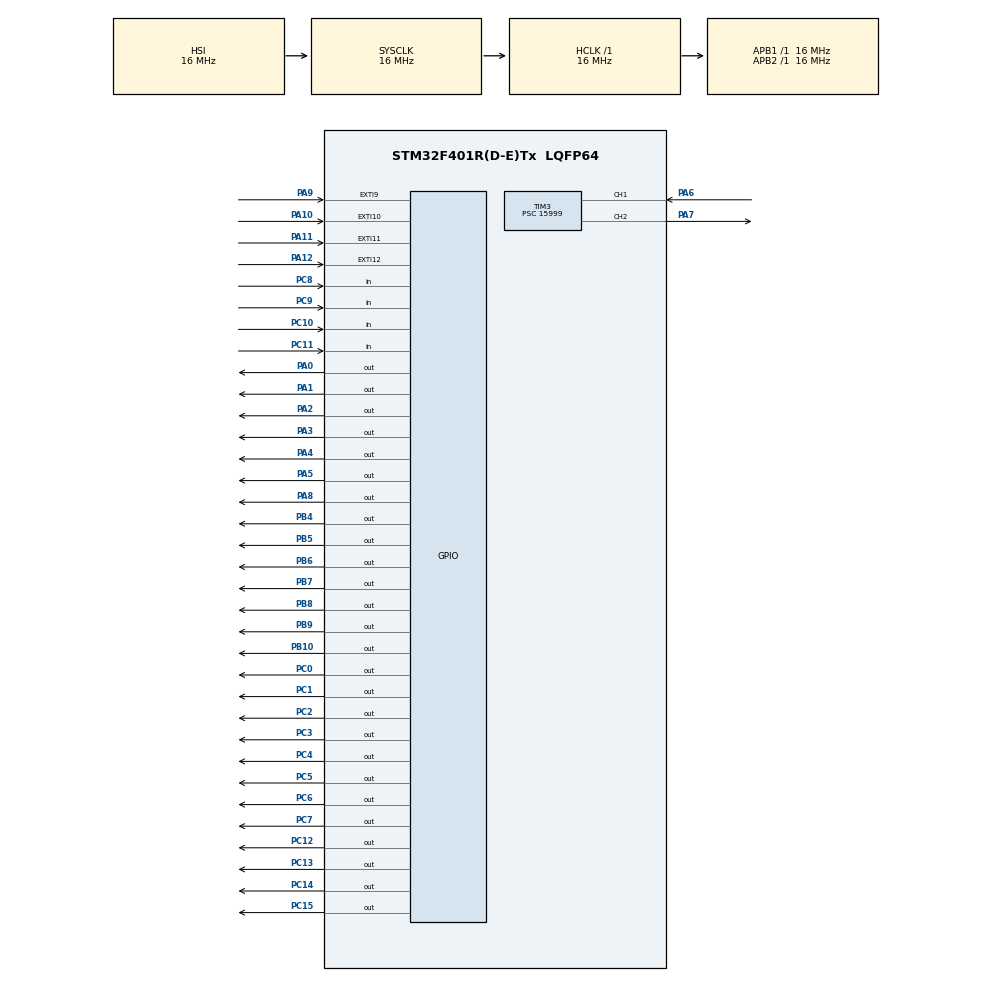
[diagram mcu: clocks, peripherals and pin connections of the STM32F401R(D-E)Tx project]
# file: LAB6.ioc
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Mcu.Family=STM32F4
Mcu.Name=STM32F401R(D-E)Tx
Mcu.Package=LQFP64
NVIC.EXTI15_10_IRQn=true\:0\:0\:false\:false\:true\:true\:true
NVIC.EXTI9_5_IRQn=true\:0\:0\:false\:false\:true\:true\:true
NVIC.PriorityGroup=NVIC_PRIORITYGROUP_4
NVIC.TIM2_IRQn=true\:0\:0\:false\:false\:true\:true\:true
NVIC.TIM3_IRQn=true\:0\:0\:false\:false\:true\:true\:true
NVIC.TIM4_IRQn=true\:0\:0\:false\:false\:true\:true\:true
PA0-WKUP.GPIO_PuPd=GPIO_PULLUP
PA0-WKUP.Signal=GPIO_Output
PA1.GPIO_PuPd=GPIO_PULLUP
PA1.Signal=GPIO_Output
PA10.GPIO_PuPd=GPIO_PULLUP
PA10.Signal=GPXTI10
PA11.GPIO_PuPd=GPIO_PULLUP
PA11.Signal=GPXTI11
PA12.GPIO_PuPd=GPIO_PULLUP
PA12.Signal=GPXTI12
PA2.GPIO_PuPd=GPIO_PULLUP
PA2.Signal=GPIO_Output
PA3.GPIO_PuPd=GPIO_PULLUP
PA3.Signal=GPIO_Output
PA4.GPIO_PuPd=GPIO_PULLUP
PA4.Signal=GPIO_Output
PA5.GPIO_PuPd=GPIO_PULLUP
PA5.Signal=GPIO_Output
PA6.GPIO_PuPd=GPIO_PULLDOWN
PA6.Signal=S_TIM3_CH1
PA7.Signal=S_TIM3_CH2
PA8.Signal=GPIO_Output
PA9.GPIO_PuPd=GPIO_PULLUP
PA9.Signal=GPXTI9
PB10.GPIO_PuPd=GPIO_PULLUP
PB10.Signal=GPIO_Output
PB4.Signal=GPIO_Output
PB5.Signal=GPIO_Output
PB6.GPIO_PuPd=GPIO_NOPULL
PB6.Signal=GPIO_Output
PB7.Signal=GPIO_Output
PB8.GPIO_PuPd=GPIO_PULLUP
PB8.Signal=GPIO_Output
PB9.GPIO_PuPd=GPIO_PULLUP
PB9.Signal=GPIO_Output
PC0.Signal=GPIO_Output
PC1.Signal=GPIO_Output
PC10.GPIO_PuPd=GPIO_PULLUP
PC10.Signal=GPIO_Input
PC11.GPIO_PuPd=GPIO_PULLUP
PC11.Signal=GPIO_Input
PC12.Signal=GPIO_Output
PC13-ANTI_TAMP.Signal=GPIO_Output
PC14-OSC32_IN.Signal=GPIO_Output
PC15-OSC32_OUT.GPIO_PuPd=GPIO_PULLUP
PC15-OSC32_OUT.Signal=GPIO_Output
PC2.Signal=GPIO_Output
PC3.Signal=GPIO_Output
PC4.Signal=GPIO_Output
PC5.Signal=GPIO_Output
PC6.Signal=GPIO_Output
PC7.Signal=GPIO_Output
PC8.GPIO_PuPd=GPIO_PULLUP
PC8.Signal=GPIO_Input
PC9.GPIO_PuPd=GPIO_PULLUP
PC9.Signal=GPIO_Input
ProjectManager.HeapSize=0x200
ProjectManager.StackSize=0x400
ProjectManager.TargetToolchain=MDK-ARM V5.32
RCC.AHBFreq_Value=16000000
RCC.APB1Freq_Value=16000000
RCC.APB2Freq_Value=16000000
RCC.CortexFreq_Value=16000000
RCC.HSE_VALUE=25000000
RCC.HSI_VALUE=16000000
RCC.LSE_VALUE=32768
RCC.SYSCLKFreq_VALUE=16000000
RCC.VCOOutputFreq_Value=192000000
SH.S_TIM3_CH1.0=TIM3_CH1,Input_Capture1_from_TI1
SH.S_TIM3_CH2.0=TIM3_CH2,PWM Generation2 CH2
TIM2.Period=1999
TIM2.Prescaler=15999
TIM3.AutoReloadPreload=TIM_AUTORELOAD_PRELOAD_ENABLE
TIM3.Channel-Input_Capture1_from_TI1=TIM_CHANNEL_1
TIM3.Channel-PWM\ Generation2\ CH2=TIM_CHANNEL_2
TIM3.ICPolarity_CH1=TIM_INPUTCHANNELPOLARITY_RISING
TIM3.Period=65535
TIM3.Prescaler=15999
TIM4.AutoReloadPreload=TIM_AUTORELOAD_PRELOAD_ENABLE
TIM4.Period=999
TIM4.Prescaler=15999
VP_TIM2_VS_ClockSourceINT.Mode=Internal
VP_TIM3_VS_ClockSourceINT.Mode=Internal
VP_TIM4_VS_ClockSourceINT.Mode=Internal
board=custom

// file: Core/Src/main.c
/* USER CODE BEGIN Header */
/**
 ******************************************************************************
 * @file           : main.c
 * @brief          : Main program body
 ******************************************************************************
 * @attention
 *
 * <h2><center>&copy; Copyright (c) 2022 STMicroelectronics.
 * All rights reserved.</center></h2>
 *
 * This software component is licensed by ST under BSD 3-Clause license,
 * the "License"; You may not use this file except in compliance with the
 * License. You may obtain a copy of the License at:
 *                        opensource.org/licenses/BSD-3-Clause
 *
 ******************************************************************************
 */
/* USER CODE END Header */
#include "main.h"

/* USER CODE BEGIN Includes */
#include <stdio.h>
#include <stdlib.h>

void delayMs(int n);
void LCD_command(unsigned char command);
void LCD_data(char data);
void LCD_init(void);
char KEYPAD_check(void);
void checkInput(char charIn);
void checkStudentID(void);
void SEG_show(int inputNum);
void showName(void);
void showTime(void);
void gameStart(void);
int LED_random(void);
void LED_reset(void);
void LOOSER(void);
void WINNER(void);
void LED_FINAL_SHOW(int myState);

int studentID = 0;
int timeStart = 0;
int state = 0;
int nameID = 0;
int name_upd = 0;
int reset_pushed = 0;
uint32_t firstReset = 0;
uint32_t secondReset = 0;
uint32_t difReset = 0;
int resetCount_init = 0;
int myTime = 0;
int endGame = 0;
int level = 3000;
int LED_status = 0;
int fault_num = 0;

#define RS 0x20 /* PB5 mask for reg select */
#define RW 0x40 /* PB6 mask for read/write */
#define EN 0x80 /* PB7 mask for enable */
/* USER CODE END Includes */

TIM_HandleTypeDef htim2;
TIM_HandleTypeDef htim3;
TIM_HandleTypeDef htim4;

void SystemClock_Config(void);
static void MX_GPIO_Init(void);
static void MX_TIM3_Init(void);
static void MX_TIM2_Init(void);
static void MX_TIM4_Init(void);

int main(void)
{

    /* MCU Configuration--------------------------------------------------------*/

    /* Reset of all peripherals, Initializes the Flash interface and the Systick. */
    HAL_Init();

    /* Configure the system clock */
    SystemClock_Config();

    /* Initialize all configured peripherals */
    MX_GPIO_Init();
    MX_TIM3_Init();
    MX_TIM2_Init();
    MX_TIM4_Init();
    /* USER CODE BEGIN 2 */
    LCD_init();

    /* USER CODE END 2 */

    /* Infinite loop */
    while (1)
    {

        /* USER CODE BEGIN 3 */
        if (state == 2)
        {
            delayMs(level);
            if (LED_status > 0)
            {
                fault_num++;
                SEG_show(fault_num);
            }
            if (fault_num >= 3)
            {
                state = 404;
                HAL_GPIO_WritePin(GPIOB, GPIO_PIN_4, GPIO_PIN_SET);
                LOOSER();
            }

            LED_reset();
            switch (LED_random())
            {
            case 0:
                HAL_GPIO_WritePin(GPIOB, GPIO_PIN_8, GPIO_PIN_SET);
                LED_status = 1;
                break;
            case 1:
                HAL_GPIO_WritePin(GPIOB, GPIO_PIN_9, GPIO_PIN_SET);
                LED_status = 2;
                break;
            case 2:
                HAL_GPIO_WritePin(GPIOB, GPIO_PIN_10, GPIO_PIN_SET);
                LED_status = 3;
                break;
            case 3:
                HAL_GPIO_WritePin(GPIOC, GPIO_PIN_15, GPIO_PIN_SET);
                LED_status = 4;
                break;
            }
        }

        if (endGame != 0)
        {
            state = 433;
            endGame = 0;
            HAL_GPIO_WritePin(GPIOB, GPIO_PIN_4, GPIO_PIN_SET);
            WINNER();
        }

        if (state == 0)
        {
            char charIN = KEYPAD_check();
            if (charIN != 0x01)
                checkInput(charIN);
            checkStudentID();
        }
        if (state == 1)
        {
            if (name_upd == 1)
            {
                LCD_command(1);
                showName();
                name_upd = 0;
            }
        }
        if (state == 100)
        {
            HAL_GPIO_WritePin(GPIOB, GPIO_PIN_4, GPIO_PIN_RESET);
            LED_reset();
            state = 0;
            studentID = 0;
            nameID = 0;
            name_upd = 0;
            reset_pushed = 0;
            firstReset = 0;
            secondReset = 0;
            difReset = 0;
            resetCount_init = 0;
            myTime = 59;
            endGame = 0;
            level = 3000;
            LED_status = 0;
            fault_num = 0;
            timeStart = 0;
            SEG_show(fault_num);
            HAL_TIM_Base_Stop_IT(&htim2);
            HAL_TIM_Base_Stop_IT(&htim4);

            LCD_command(1);
        }
        if (reset_pushed == 2)
        {
            gameStart();
        }
    }
    /* USER CODE END 3 */
}

void SystemClock_Config(void)
{
    RCC_OscInitTypeDef RCC_OscInitStruct = {0};
    RCC_ClkInitTypeDef RCC_ClkInitStruct = {0};

    /** Configure the main internal regulator output voltage
     */
    __HAL_RCC_PWR_CLK_ENABLE();
    __HAL_PWR_VOLTAGESCALING_CONFIG(PWR_REGULATOR_VOLTAGE_SCALE2);
    /** Initializes the RCC Oscillators according to the specified parameters
     * in the RCC_OscInitTypeDef structure.
     */
    RCC_OscInitStruct.OscillatorType = RCC_OSCILLATORTYPE_HSI;
    RCC_OscInitStruct.HSIState = RCC_HSI_ON;
    RCC_OscInitStruct.HSICalibrationValue = RCC_HSICALIBRATION_DEFAULT;
    RCC_OscInitStruct.PLL.PLLState = RCC_PLL_NONE;
    if (HAL_RCC_OscConfig(&RCC_OscInitStruct) != HAL_OK)
    {
        Error_Handler();
    }
    /** Initializes the CPU, AHB and APB buses clocks
     */
    RCC_ClkInitStruct.ClockType = RCC_CLOCKTYPE_HCLK | RCC_CLOCKTYPE_SYSCLK | RCC_CLOCKTYPE_PCLK1 | RCC_CLOCKTYPE_PCLK2;
    RCC_ClkInitStruct.SYSCLKSource = RCC_SYSCLKSOURCE_HSI;
    RCC_ClkInitStruct.AHBCLKDivider = RCC_SYSCLK_DIV1;
    RCC_ClkInitStruct.APB1CLKDivider = RCC_HCLK_DIV1;
    RCC_ClkInitStruct.APB2CLKDivider = RCC_HCLK_DIV1;

    if (HAL_RCC_ClockConfig(&RCC_ClkInitStruct, FLASH_LATENCY_0) != HAL_OK)
    {
        Error_Handler();
    }
}

static void MX_TIM2_Init(void)
{

    TIM_ClockConfigTypeDef sClockSourceConfig = {0};
    TIM_MasterConfigTypeDef sMasterConfig = {0};

    htim2.Instance = TIM2;
    htim2.Init.Prescaler = 15999;
    htim2.Init.CounterMode = TIM_COUNTERMODE_UP;
    htim2.Init.Period = 1999;
    htim2.Init.ClockDivision = TIM_CLOCKDIVISION_DIV1;
    htim2.Init.AutoReloadPreload = TIM_AUTORELOAD_PRELOAD_DISABLE;
    if (HAL_TIM_Base_Init(&htim2) != HAL_OK)
    {
        Error_Handler();
    }
    sClockSourceConfig.ClockSource = TIM_CLOCKSOURCE_INTERNAL;
    if (HAL_TIM_ConfigClockSource(&htim2, &sClockSourceConfig) != HAL_OK)
    {
        Error_Handler();
    }
    sMasterConfig.MasterOutputTrigger = TIM_TRGO_RESET;
    sMasterConfig.MasterSlaveMode = TIM_MASTERSLAVEMODE_DISABLE;
    if (HAL_TIMEx_MasterConfigSynchronization(&htim2, &sMasterConfig) != HAL_OK)
    {
        Error_Handler();
    }
}

static void MX_TIM3_Init(void)
{

    TIM_ClockConfigTypeDef sClockSourceConfig = {0};
    TIM_MasterConfigTypeDef sMasterConfig = {0};
    TIM_IC_InitTypeDef sConfigIC = {0};
    TIM_OC_InitTypeDef sConfigOC = {0};

    htim3.Instance = TIM3;
    htim3.Init.Prescaler = 15999;
    htim3.Init.CounterMode = TIM_COUNTERMODE_UP;
    htim3.Init.Period = 65535;
    htim3.Init.ClockDivision = TIM_CLOCKDIVISION_DIV1;
    htim3.Init.AutoReloadPreload = TIM_AUTORELOAD_PRELOAD_ENABLE;
    if (HAL_TIM_Base_Init(&htim3) != HAL_OK)
    {
        Error_Handler();
    }
    sClockSourceConfig.ClockSource = TIM_CLOCKSOURCE_INTERNAL;
    if (HAL_TIM_ConfigClockSource(&htim3, &sClockSourceConfig) != HAL_OK)
    {
        Error_Handler();
    }
    if (HAL_TIM_IC_Init(&htim3) != HAL_OK)
    {
        Error_Handler();
    }
    if (HAL_TIM_PWM_Init(&htim3) != HAL_OK)
    {
        Error_Handler();
    }
    sMasterConfig.MasterOutputTrigger = TIM_TRGO_RESET;
    sMasterConfig.MasterSlaveMode = TIM_MASTERSLAVEMODE_DISABLE;
    if (HAL_TIMEx_MasterConfigSynchronization(&htim3, &sMasterConfig) != HAL_OK)
    {
        Error_Handler();
    }
    sConfigIC.ICPolarity = TIM_INPUTCHANNELPOLARITY_RISING;
    sConfigIC.ICSelection = TIM_ICSELECTION_DIRECTTI;
    sConfigIC.ICPrescaler = TIM_ICPSC_DIV1;
    sConfigIC.ICFilter = 0;
    if (HAL_TIM_IC_ConfigChannel(&htim3, &sConfigIC, TIM_CHANNEL_1) != HAL_OK)
    {
        Error_Handler();
    }
    sConfigOC.OCMode = TIM_OCMODE_PWM1;
    sConfigOC.Pulse = 0;
    sConfigOC.OCPolarity = TIM_OCPOLARITY_HIGH;
    sConfigOC.OCFastMode = TIM_OCFAST_DISABLE;
    if (HAL_TIM_PWM_ConfigChannel(&htim3, &sConfigOC, TIM_CHANNEL_2) != HAL_OK)
    {
        Error_Handler();
    }
    HAL_TIM_MspPostInit(&htim3);
}

static void MX_TIM4_Init(void)
{

    TIM_ClockConfigTypeDef sClockSourceConfig = {0};
    TIM_MasterConfigTypeDef sMasterConfig = {0};

    htim4.Instance = TIM4;
    htim4.Init.Prescaler = 15999;
    htim4.Init.CounterMode = TIM_COUNTERMODE_UP;
    htim4.Init.Period = 999;
    htim4.Init.ClockDivision = TIM_CLOCKDIVISION_DIV1;
    htim4.Init.AutoReloadPreload = TIM_AUTORELOAD_PRELOAD_ENABLE;
    if (HAL_TIM_Base_Init(&htim4) != HAL_OK)
    {
        Error_Handler();
    }
    sClockSourceConfig.ClockSource = TIM_CLOCKSOURCE_INTERNAL;
    if (HAL_TIM_ConfigClockSource(&htim4, &sClockSourceConfig) != HAL_OK)
    {
        Error_Handler();
    }
    sMasterConfig.MasterOutputTrigger = TIM_TRGO_RESET;
    sMasterConfig.MasterSlaveMode = TIM_MASTERSLAVEMODE_DISABLE;
    if (HAL_TIMEx_MasterConfigSynchronization(&htim4, &sMasterConfig) != HAL_OK)
    {
        Error_Handler();
    }
}

static void MX_GPIO_Init(void)
{
    GPIO_InitTypeDef GPIO_InitStruct = {0};

    /* GPIO Ports Clock Enable */
    __HAL_RCC_GPIOC_CLK_ENABLE();
    __HAL_RCC_GPIOA_CLK_ENABLE();
    __HAL_RCC_GPIOB_CLK_ENABLE();

    /*Configure GPIO pin Output Level */
    HAL_GPIO_WritePin(GPIOC, GPIO_PIN_13 | GPIO_PIN_14 | GPIO_PIN_15 | GPIO_PIN_0 | GPIO_PIN_1 | GPIO_PIN_2 | GPIO_PIN_3 | GPIO_PIN_4 | GPIO_PIN_5 | GPIO_PIN_6 | GPIO_PIN_7 | GPIO_PIN_12, GPIO_PIN_RESET);

    /*Configure GPIO pin Output Level */
    HAL_GPIO_WritePin(GPIOA, GPIO_PIN_0 | GPIO_PIN_1 | GPIO_PIN_2 | GPIO_PIN_3 | GPIO_PIN_4 | GPIO_PIN_5 | GPIO_PIN_8, GPIO_PIN_RESET);

    /*Configure GPIO pin Output Level */
    HAL_GPIO_WritePin(GPIOB, GPIO_PIN_10 | GPIO_PIN_4 | GPIO_PIN_5 | GPIO_PIN_6 | GPIO_PIN_7 | GPIO_PIN_8 | GPIO_PIN_9, GPIO_PIN_RESET);

    /*Configure GPIO pins : PC13 PC14 PC0 PC1
                             PC2 PC3 PC4 PC5
                             PC6 PC7 PC12 */
    GPIO_InitStruct.Pin = GPIO_PIN_13 | GPIO_PIN_14 | GPIO_PIN_0 | GPIO_PIN_1 | GPIO_PIN_2 | GPIO_PIN_3 | GPIO_PIN_4 | GPIO_PIN_5 | GPIO_PIN_6 | GPIO_PIN_7 | GPIO_PIN_12;
    GPIO_InitStruct.Mode = GPIO_MODE_OUTPUT_PP;
    GPIO_InitStruct.Pull = GPIO_NOPULL;
    GPIO_InitStruct.Speed = GPIO_SPEED_FREQ_LOW;
    HAL_GPIO_Init(GPIOC, &GPIO_InitStruct);

    /*Configure GPIO pin : PC15 */
    GPIO_InitStruct.Pin = GPIO_PIN_15;
    GPIO_InitStruct.Mode = GPIO_MODE_OUTPUT_PP;
    GPIO_InitStruct.Pull = GPIO_PULLUP;
    GPIO_InitStruct.Speed = GPIO_SPEED_FREQ_LOW;
    HAL_GPIO_Init(GPIOC, &GPIO_InitStruct);

    /*Configure GPIO pins : PA0 PA1 PA2 PA3
                             PA4 PA5 */
    GPIO_InitStruct.Pin = GPIO_PIN_0 | GPIO_PIN_1 | GPIO_PIN_2 | GPIO_PIN_3 | GPIO_PIN_4 | GPIO_PIN_5;
    GPIO_InitStruct.Mode = GPIO_MODE_OUTPUT_PP;
    GPIO_InitStruct.Pull = GPIO_PULLUP;
    GPIO_InitStruct.Speed = GPIO_SPEED_FREQ_LOW;
    HAL_GPIO_Init(GPIOA, &GPIO_InitStruct);

    /*Configure GPIO pins : PB10 PB8 PB9 */
    GPIO_InitStruct.Pin = GPIO_PIN_10 | GPIO_PIN_8 | GPIO_PIN_9;
    GPIO_InitStruct.Mode = GPIO_MODE_OUTPUT_PP;
    GPIO_InitStruct.Pull = GPIO_PULLUP;
    GPIO_InitStruct.Speed = GPIO_SPEED_FREQ_LOW;
    HAL_GPIO_Init(GPIOB, &GPIO_InitStruct);

    /*Configure GPIO pins : PC8 PC9 PC10 PC11 */
    GPIO_InitStruct.Pin = GPIO_PIN_8 | GPIO_PIN_9 | GPIO_PIN_10 | GPIO_PIN_11;
    GPIO_InitStruct.Mode = GPIO_MODE_INPUT;
    GPIO_InitStruct.Pull = GPIO_PULLUP;
    HAL_GPIO_Init(GPIOC, &GPIO_InitStruct);

    /*Configure GPIO pin : PA8 */
    GPIO_InitStruct.Pin = GPIO_PIN_8;
    GPIO_InitStruct.Mode = GPIO_MODE_OUTPUT_PP;
    GPIO_InitStruct.Pull = GPIO_NOPULL;
    GPIO_InitStruct.Speed = GPIO_SPEED_FREQ_LOW;
    HAL_GPIO_Init(GPIOA, &GPIO_InitStruct);

    /*Configure GPIO pins : PA9 PA10 PA11 PA12 */
    GPIO_InitStruct.Pin = GPIO_PIN_9 | GPIO_PIN_10 | GPIO_PIN_11 | GPIO_PIN_12;
    GPIO_InitStruct.Mode = GPIO_MODE_IT_RISING;
    GPIO_InitStruct.Pull = GPIO_PULLUP;
    HAL_GPIO_Init(GPIOA, &GPIO_InitStruct);

    /*Configure GPIO pins : PB4 PB5 PB6 PB7 */
    GPIO_InitStruct.Pin = GPIO_PIN_4 | GPIO_PIN_5 | GPIO_PIN_6 | GPIO_PIN_7;
    GPIO_InitStruct.Mode = GPIO_MODE_OUTPUT_PP;
    GPIO_InitStruct.Pull = GPIO_NOPULL;
    GPIO_InitStruct.Speed = GPIO_SPEED_FREQ_LOW;
    HAL_GPIO_Init(GPIOB, &GPIO_InitStruct);

    /* EXTI interrupt init*/
    HAL_NVIC_SetPriority(EXTI9_5_IRQn, 0, 0);
    HAL_NVIC_EnableIRQ(EXTI9_5_IRQn);

    HAL_NVIC_SetPriority(EXTI15_10_IRQn, 0, 0);
    HAL_NVIC_EnableIRQ(EXTI15_10_IRQn);
}

/* USER CODE BEGIN 4 */
void LCD_init(void)
{ /* initialize port then initialize LCD and making it ready for commanding */
    delayMs(30);
    LCD_command(0x30);
    delayMs(10);
    LCD_command(0x30);
    delayMs(1);
    LCD_command(0x30);
    LCD_command(0x38); /* set 8-bit data and two line of 5x7 font */
    LCD_command(0x06); /*  cursor after each character */
    LCD_command(0x01); /* clear screen and reset cursor */
    LCD_command(0x0F); /* display turn on*/
}

void LCD_command(unsigned char command)
{
    HAL_GPIO_WritePin(GPIOB, RS, GPIO_PIN_RESET);
    HAL_GPIO_WritePin(GPIOB, RW, GPIO_PIN_RESET);
    for (uint16_t GPIO_Pin = GPIO_PIN_0; GPIO_Pin != GPIO_PIN_8; GPIO_Pin = GPIO_Pin << 1)
    {
        HAL_GPIO_WritePin(GPIOC, GPIO_Pin, command % 2);
        command = command >> 1;
    }
    HAL_GPIO_WritePin(GPIOB, EN, GPIO_PIN_SET); /* pulse E high */ /* make a pulse E */
    delayMs(0);
    HAL_GPIO_WritePin(GPIOB, EN, GPIO_PIN_RESET); /* clear E */
    if (command < 4)
        delayMs(2); /* first two commands need more time */
    else
        delayMs(1);
}

void LCD_data(char data)
{
    HAL_GPIO_WritePin(GPIOB, RS, GPIO_PIN_SET);   /* RS = 1 */
    HAL_GPIO_WritePin(GPIOB, RW, GPIO_PIN_RESET); /* R/W = 0 */
    for (uint16_t GPIO_Pin = GPIO_PIN_0; GPIO_Pin != GPIO_PIN_8; GPIO_Pin = GPIO_Pin << 1)
    {
        HAL_GPIO_WritePin(GPIOC, GPIO_Pin, data % 2);
        data = data >> 1;
    }
    HAL_GPIO_WritePin(GPIOB, EN, GPIO_PIN_SET); /* pulse E high */
    delayMs(0);
    HAL_GPIO_WritePin(GPIOB, EN, GPIO_PIN_RESET); /* clear E */

    delayMs(1);
}

void delayMs(int n)
{
    int i;
    for (; n > 0; n--)
        for (i = 0; i < 3195; i++)
            __NOP();
}

char KEYPAD_check(void)
{

    HAL_GPIO_WritePin(GPIOC, GPIO_PIN_12, GPIO_PIN_RESET);
    HAL_GPIO_WritePin(GPIOC, GPIO_PIN_13, GPIO_PIN_SET);
    HAL_GPIO_WritePin(GPIOC, GPIO_PIN_14, GPIO_PIN_SET);

    if (!(HAL_GPIO_ReadPin(GPIOC, GPIO_PIN_8))) // if the Col 1 is low
    {
        while (!(HAL_GPIO_ReadPin(GPIOC, GPIO_PIN_8)))
            ; // wait till the button is pressed
        return '1';
    }

    if (!(HAL_GPIO_ReadPin(GPIOC, GPIO_PIN_9))) // if the Col 2 is low
    {
        while (!(HAL_GPIO_ReadPin(GPIOC, GPIO_PIN_9)))
            ; // wait till the button is pressed
        return '4';
    }

    if (!(HAL_GPIO_ReadPin(GPIOC, GPIO_PIN_10))) // if the Col 3 is low
    {
        while (!(HAL_GPIO_ReadPin(GPIOC, GPIO_PIN_10)))
            ; // wait till the button is pressed
        return '7';
    }

    if (!(HAL_GPIO_ReadPin(GPIOC, GPIO_PIN_11))) // if the Col 4 is low
    {
        while (!(HAL_GPIO_ReadPin(GPIOC, GPIO_PIN_11)))
            ; // wait till the button is pressed
        return '*';
    }

    //////////////

    HAL_GPIO_WritePin(GPIOC, GPIO_PIN_12, GPIO_PIN_SET);
    HAL_GPIO_WritePin(GPIOC, GPIO_PIN_13, GPIO_PIN_RESET);
    HAL_GPIO_WritePin(GPIOC, GPIO_PIN_14, GPIO_PIN_SET);

    if (!(HAL_GPIO_ReadPin(GPIOC, GPIO_PIN_8))) // if the Col 1 is low
    {
        while (!(HAL_GPIO_ReadPin(GPIOC, GPIO_PIN_8)))
            ; // wait till the button is pressed
        return '2';
    }

    if (!(HAL_GPIO_ReadPin(GPIOC, GPIO_PIN_9))) // if the Col 2 is low
    {
        while (!(HAL_GPIO_ReadPin(GPIOC, GPIO_PIN_9)))
            ; // wait till the button is pressed
        return '5';
    }

    if (!(HAL_GPIO_ReadPin(GPIOC, GPIO_PIN_10))) // if the Col 3 is low
    {
        while (!(HAL_GPIO_ReadPin(GPIOC, GPIO_PIN_10)))
            ; // wait till the button is pressed
        return '8';
    }

    if (!(HAL_GPIO_ReadPin(GPIOC, GPIO_PIN_11))) // if the Col 4 is low
    {
        while (!(HAL_GPIO_ReadPin(GPIOC, GPIO_PIN_11)))
            ; // wait till the button is pressed
        return '0';
    }

    /////////////

    HAL_GPIO_WritePin(GPIOC, GPIO_PIN_12, GPIO_PIN_SET);
    HAL_GPIO_WritePin(GPIOC, GPIO_PIN_13, GPIO_PIN_SET);
    HAL_GPIO_WritePin(GPIOC, GPIO_PIN_14, GPIO_PIN_RESET);

    if (!(HAL_GPIO_ReadPin(GPIOC, GPIO_PIN_8))) // if the Col 1 is low
    {
        while (!(HAL_GPIO_ReadPin(GPIOC, GPIO_PIN_8)))
            ; // wait till the button is pressed
        return '3';
    }

    if (!(HAL_GPIO_ReadPin(GPIOC, GPIO_PIN_9))) // if the Col 2 is low
    {
        while (!(HAL_GPIO_ReadPin(GPIOC, GPIO_PIN_9)))
            ; // wait till the button is pressed
        return '6';
    }

    if (!(HAL_GPIO_ReadPin(GPIOC, GPIO_PIN_10))) // if the Col 3 is low
    {
        while (!(HAL_GPIO_ReadPin(GPIOC, GPIO_PIN_10)))
            ; // wait till the button is pressed
        return '9';
    }

    if (!(HAL_GPIO_ReadPin(GPIOC, GPIO_PIN_11))) // if the Col 4 is low
    {
        while (!(HAL_GPIO_ReadPin(GPIOC, GPIO_PIN_11)))
            ; // wait till the button is pressed
        return '#';
    }
}

void checkInput(char charIn)
{
    if ('0' <= charIn <= '9')
    {
        studentID *= 10;
        studentID += (charIn - 48);
        LCD_data(charIn);
    }
    if (charIn == '*')
    {
        state = 100;
        studentID = 0;
        reset_pushed = 0;
    }
}

void checkStudentID(void)
{
    if (studentID == 97243076 || studentID == 97243091)
    {
        state++;
        name_upd++;
        HAL_Delay(500);
        HAL_TIM_Base_Start_IT(&htim2);
    }
    if (timeStart == 0)
    {
        // LCD_data('!');
        HAL_TIM_IC_Start_IT(&htim3, TIM_CHANNEL_1);
        timeStart = 1;
    }
}

void SEG_show(int inputNum)
{
    switch (inputNum)
    {
    case 0:
    {
        HAL_GPIO_WritePin(GPIOA, GPIO_PIN_0, GPIO_PIN_SET);
        HAL_GPIO_WritePin(GPIOA, GPIO_PIN_1, GPIO_PIN_SET);
        HAL_GPIO_WritePin(GPIOA, GPIO_PIN_2, GPIO_PIN_SET);
        HAL_GPIO_WritePin(GPIOA, GPIO_PIN_3, GPIO_PIN_SET);
        HAL_GPIO_WritePin(GPIOA, GPIO_PIN_4, GPIO_PIN_SET);
        HAL_GPIO_WritePin(GPIOA, GPIO_PIN_5, GPIO_PIN_SET);
        HAL_GPIO_WritePin(GPIOA, GPIO_PIN_8, GPIO_PIN_RESET);
    };
    break;
    case 1:
    {
        HAL_GPIO_WritePin(GPIOA, GPIO_PIN_0, GPIO_PIN_RESET);
        HAL_GPIO_WritePin(GPIOA, GPIO_PIN_1, GPIO_PIN_SET);
        HAL_GPIO_WritePin(GPIOA, GPIO_PIN_2, GPIO_PIN_SET);
        HAL_GPIO_WritePin(GPIOA, GPIO_PIN_3, GPIO_PIN_RESET);
        HAL_GPIO_WritePin(GPIOA, GPIO_PIN_4, GPIO_PIN_RESET);
        HAL_GPIO_WritePin(GPIOA, GPIO_PIN_5, GPIO_PIN_RESET);
        HAL_GPIO_WritePin(GPIOA, GPIO_PIN_8, GPIO_PIN_RESET);
    };
    break;
    case 2:
    {
        HAL_GPIO_WritePin(GPIOA, GPIO_PIN_0, GPIO_PIN_SET);
        HAL_GPIO_WritePin(GPIOA, GPIO_PIN_1, GPIO_PIN_SET);
        HAL_GPIO_WritePin(GPIOA, GPIO_PIN_2, GPIO_PIN_RESET);
        HAL_GPIO_WritePin(GPIOA, GPIO_PIN_3, GPIO_PIN_SET);
        HAL_GPIO_WritePin(GPIOA, GPIO_PIN_4, GPIO_PIN_SET);
        HAL_GPIO_WritePin(GPIOA, GPIO_PIN_5, GPIO_PIN_RESET);
        HAL_GPIO_WritePin(GPIOA, GPIO_PIN_8, GPIO_PIN_SET);
    };
    break;
    case 3:
    {
        HAL_GPIO_WritePin(GPIOA, GPIO_PIN_0, GPIO_PIN_SET);
        HAL_GPIO_WritePin(GPIOA, GPIO_PIN_1, GPIO_PIN_SET);
        HAL_GPIO_WritePin(GPIOA, GPIO_PIN_2, GPIO_PIN_SET);
        HAL_GPIO_WritePin(GPIOA, GPIO_PIN_3, GPIO_PIN_SET);
        HAL_GPIO_WritePin(GPIOA, GPIO_PIN_4, GPIO_PIN_RESET);
        HAL_GPIO_WritePin(GPIOA, GPIO_PIN_5, GPIO_PIN_RESET);
        HAL_GPIO_WritePin(GPIOA, GPIO_PIN_8, GPIO_PIN_SET);
    };
    break;
    }
}
void HAL_TIM_PeriodElapsedCallback(TIM_HandleTypeDef *htim)
{
    if (htim->Instance == TIM2)
    {
        name_upd = 1;
        if (nameID == 0)
            nameID++;
        else
            nameID--;
    }
    if (htim->Instance == TIM4)
    {

        if (myTime >= 0)
        {
            showTime();
            myTime--;
        }
        else
            endGame = 1;

        switch (myTime)
        {
        case 51:
            level = 2000;
            break;
        case 45:
            level = 1000;
            break;
        case 35:
            level = 900;
            break;
        case 25:
            level = 800;
            break;
        case 15:
            level = 700;
            break;
        case 5:
            level = 600;
            break;

        default:
            break;
        }
    }
}

void showName(void)
{
    if (nameID == 1)
    {
        LCD_data('M');
        LCD_data('R');
        LCD_data('E');
        LCD_data('Z');
        LCD_data('A');
        LCD_data('.');
        LCD_data('A');
        LCD_data('M');
        LCD_data('I');
        LCD_data('N');
        LCD_data('I');
    }
    else
    {
        LCD_data('A');
        LCD_data('R');
        LCD_data('.');
        LCD_data('A');
        LCD_data('M');
        LCD_data('I');
        LCD_data('N');
        LCD_data('I');
    }
}

void HAL_TIM_IC_CaptureCallback(TIM_HandleTypeDef *htim)
{
    // if (htim->Channel == HAL_TIM_ACTIVE_CHANNEL_1)
    {
        if (resetCount_init == 0)
        {
            // LCD_command(1);
            // LCD_data('1');
            firstReset = HAL_TIM_ReadCapturedValue(&htim3, TIM_CHANNEL_1);
            resetCount_init++;
            __HAL_TIM_SET_CAPTUREPOLARITY(&htim3, TIM_CHANNEL_1, TIM_INPUTCHANNELPOLARITY_FALLING);
        }
        else if (resetCount_init == 1)
        {
            // LCD_command(1);
            // LCD_data('2');
            secondReset = HAL_TIM_ReadCapturedValue(&htim3, TIM_CHANNEL_1);
            __HAL_TIM_SET_CAPTUREPOLARITY(&htim3, TIM_CHANNEL_1, TIM_INPUTCHANNELPOLARITY_RISING);
            if (firstReset > secondReset)
            {
                difReset = secondReset - secondReset;
            }
            else
            {
                difReset = (0xffffffff - firstReset) + secondReset;
            }
            float secondDif = difReset / 1000;
            if (secondDif >= 2)
            {
                if (secondDif >= 3)
                {
                    state = 100;
                }
                reset_pushed++;
            }
            if (reset_pushed == 2)
            {
                HAL_TIM_Base_Stop_IT(&htim2);
                HAL_TIM_PWM_Start(&htim3, TIM_CHANNEL_2);
            }
            firstReset = 0;
            resetCount_init = 0;
        }
    }
}

void showTime(void)
{
    LCD_command(1);
    char resVal[100];
    sprintf(resVal, "%d", myTime);
    for (int i = 0; i < 101; i++)
    {
        if (resVal[i] == '\0')
            break;
        LCD_data(resVal[i]);
    }
}

void gameStart(void)
{
    state = 2;
    myTime = 59;
    reset_pushed = 0;
    LCD_command(1);
    LCD_data('6');
    LCD_data('0');
    HAL_TIM_Base_Start_IT(&htim4);
}

void HAL_GPIO_EXTI_Callback(uint16_t GPIO_Pin)
{
    if (state == 2)
    {
        LED_reset();
        if (GPIO_Pin == GPIO_PIN_9)
        {
            if (LED_status != 1)
                fault_num++;
            SEG_show(fault_num);
        }
        if (GPIO_Pin == GPIO_PIN_10)
        {
            if (LED_status != 2)
                fault_num++;
            SEG_show(fault_num);
        }
        if (GPIO_Pin == GPIO_PIN_11)
        {
            if (LED_status != 3)
                fault_num++;
            SEG_show(fault_num);
        }
        if (GPIO_Pin == GPIO_PIN_12)
        {
            if (LED_status != 4)
                fault_num++;
            SEG_show(fault_num);
        }
        if (fault_num >= 3)
        {
            state = 404;
            HAL_GPIO_WritePin(GPIOB, GPIO_PIN_4, GPIO_PIN_SET);
            LOOSER();
        }
        LED_status = 0;
    }
}
void LOOSER(void)
{
    HAL_TIM_Base_Stop_IT(&htim2);
    HAL_TIM_Base_Stop_IT(&htim4);
    // HAL_TIM_PWM_Start(&htim3, TIM_CHANNEL_2);
    while (state == 404)
    {
        LCD_command(1);
        LCD_data('L');
        LCD_data('O');
        LCD_data('O');
        LCD_data('S');
        LCD_data('E');
        LCD_data('R');
        LED_FINAL_SHOW(0);
        LCD_command(1);
        LED_FINAL_SHOW(0);
    }
}

void WINNER(void)
{
    HAL_TIM_Base_Stop_IT(&htim2);
    HAL_TIM_Base_Stop_IT(&htim4);
    while (state == 433)
    {
        LCD_command(1);
        LCD_data('W');
        LCD_data('I');
        LCD_data('N');
        LCD_data('N');
        LCD_data('E');
        LCD_data('R');
        LED_FINAL_SHOW(1);
        LCD_command(1);
        LED_FINAL_SHOW(1);
    }
}

void LED_FINAL_SHOW(int myState)
{

    if (myState == 0)
    {
        HAL_GPIO_WritePin(GPIOC, GPIO_PIN_15, GPIO_PIN_SET);

        /*
        ////////////////// PWM CODE ///////////////////
        *remeber to delete final 500ms delay and writePin at the end of the function
        in order to run on pwm, in addition add WIN port to MUX in proteus.

        for (int i = 10000; i >= 0; i -= 20)
        {
            TIM3->CCR2 = i;
            delayMs(1);
        }
        for (int i = 0; i <= 10000; i += 20)
        {
            TIM3->CCR2 = i;
            delayMs(1);
        }*/
        //////////////////////////////////////////////
        delayMs(500);
        HAL_GPIO_WritePin(GPIOC, GPIO_PIN_15, GPIO_PIN_RESET);
    }
    else
    {
        HAL_GPIO_WritePin(GPIOB, GPIO_PIN_11, GPIO_PIN_SET);
        /*
        ////////////////// PWM CODE ///////////////////
                *remeber to delete final 500ms delay and writePin at the end of the function
                in order to run on pwm

                for (int i = 10000; i >= 0; i -= 20)
                {
                    TIM3->CCR2 = i;
                    delayMs(1);
                }
                for (int i = 0; i <= 10000; i += 20)
                {
                    TIM3->CCR2 = i;
                    delayMs(1);
                }*/
        //////////////////////////////////////////////
        delayMs(500);
        HAL_GPIO_WritePin(GPIOC, GPIO_PIN_11, GPIO_PIN_RESET);
    }
    delayMs(500);
}
void LED_reset(void)
{
    HAL_GPIO_WritePin(GPIOB, GPIO_PIN_8, GPIO_PIN_RESET);
    HAL_GPIO_WritePin(GPIOB, GPIO_PIN_9, GPIO_PIN_RESET);
    HAL_GPIO_WritePin(GPIOB, GPIO_PIN_10, GPIO_PIN_RESET);
    HAL_GPIO_WritePin(GPIOC, GPIO_PIN_15, GPIO_PIN_RESET);
}

int LED_random(void)
{
    srand(__HAL_TIM_GetCounter(&htim3));
    return rand() % 4;
}

/* USER CODE END 4 */

void Error_Handler(void)
{
    __disable_irq();
    while (1)
    {
    }
}

/************************ (C) COPYRIGHT STMicroelectronics *****END OF FILE****/
